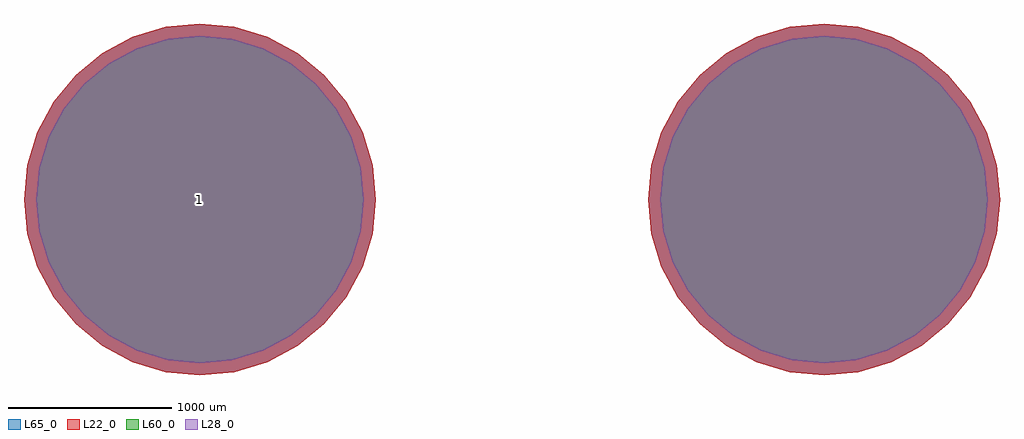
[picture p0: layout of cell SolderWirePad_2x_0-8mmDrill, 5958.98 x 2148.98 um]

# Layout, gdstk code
import gdstk
lib = gdstk.Library(unit=1e-6, precision=1e-09)
def P(c, l, *ps):  # polygons
    for p in ps: c.add(gdstk.Polygon(p, *l))
L22_0 = (22, 0)
L28_0 = (28, 0)
L60_0 = (60, 0)
L65_0 = (65, 0)

solderwirepad_2x_0_8mmdr = lib.new_cell('SolderWirePad_2x_0-8mmDrill')
P(solderwirepad_2x_0_8mmdr, L22_0, [(2979.49,0),(2958.844,209.623),(2897.699,411.19),(2798.406,596.955),(2664.779,759.779),(2501.955,893.406),(2316.19,992.699),(2114.623,1053.844),(1905,1074.49),(1695.377,1053.844),(1493.81,992.699),(1308.045,893.406),(1145.221,759.779),(1011.594,596.955),(912.301,411.19),(851.156,209.623),(830.51,0),(851.156,-209.623),(912.301,-411.19),(1011.594,-596.955),(1145.221,-759.779),(1308.045,-893.406),(1493.81,-992.699),(1695.377,-1053.844),(1905,-1074.49),(2114.623,-1053.844),(2316.19,-992.699),(2501.955,-893.406),(2664.779,-759.779),(2798.406,-596.955),(2897.699,-411.19),(2958.844,-209.623)],
  [(-830.51,0),(-851.156,209.623),(-912.301,411.19),(-1011.594,596.955),(-1145.221,759.779),(-1308.045,893.406),(-1493.81,992.699),(-1695.377,1053.844),(-1905,1074.49),(-2114.623,1053.844),(-2316.19,992.699),(-2501.955,893.406),(-2664.779,759.779),(-2798.406,596.955),(-2897.699,411.19),(-2958.844,209.623),(-2979.49,0),(-2958.844,-209.623),(-2897.699,-411.19),(-2798.406,-596.955),(-2664.779,-759.779),(-2501.955,-893.406),(-2316.19,-992.699),(-2114.623,-1053.844),(-1905,-1074.49),(-1695.377,-1053.844),(-1493.81,-992.699),(-1308.045,-893.406),(-1145.221,-759.779),(-1011.594,-596.955),(-912.301,-411.19),(-851.156,-209.623)])
P(solderwirepad_2x_0_8mmdr, L28_0, [(2904.49,0),(2885.285,194.991),(2828.408,382.488),(2736.046,555.287),(2611.746,706.746),(2460.287,831.046),(2287.488,923.408),(2099.991,980.285),(1905,999.49),(1710.009,980.285),(1522.512,923.408),(1349.713,831.046),(1198.254,706.746),(1073.954,555.287),(981.592,382.488),(924.715,194.991),(905.51,0),(924.715,-194.991),(981.592,-382.488),(1073.954,-555.287),(1198.254,-706.746),(1349.713,-831.046),(1522.512,-923.408),(1710.009,-980.285),(1905,-999.49),(2099.991,-980.285),(2287.488,-923.408),(2460.287,-831.046),(2611.746,-706.746),(2736.046,-555.287),(2828.408,-382.488),(2885.285,-194.991)],
  [(-905.51,0),(-924.715,194.991),(-981.592,382.488),(-1073.954,555.287),(-1198.254,706.746),(-1349.713,831.046),(-1522.512,923.408),(-1710.009,980.285),(-1905,999.49),(-2099.991,980.285),(-2287.488,923.408),(-2460.287,831.046),(-2611.746,706.746),(-2736.046,555.287),(-2828.408,382.488),(-2885.285,194.991),(-2904.49,0),(-2885.285,-194.991),(-2828.408,-382.488),(-2736.046,-555.287),(-2611.746,-706.746),(-2460.287,-831.046),(-2287.488,-923.408),(-2099.991,-980.285),(-1905,-999.49),(-1710.009,-980.285),(-1522.512,-923.408),(-1349.713,-831.046),(-1198.254,-706.746),(-1073.954,-555.287),(-981.592,-382.488),(-924.715,-194.991)])
P(solderwirepad_2x_0_8mmdr, L60_0, [(2904.49,0),(2885.285,194.991),(2828.408,382.488),(2736.046,555.287),(2611.746,706.746),(2460.287,831.046),(2287.488,923.408),(2099.991,980.285),(1905,999.49),(1710.009,980.285),(1522.512,923.408),(1349.713,831.046),(1198.254,706.746),(1073.954,555.287),(981.592,382.488),(924.715,194.991),(905.51,0),(924.715,-194.991),(981.592,-382.488),(1073.954,-555.287),(1198.254,-706.746),(1349.713,-831.046),(1522.512,-923.408),(1710.009,-980.285),(1905,-999.49),(2099.991,-980.285),(2287.488,-923.408),(2460.287,-831.046),(2611.746,-706.746),(2736.046,-555.287),(2828.408,-382.488),(2885.285,-194.991)],
  [(-905.51,0),(-924.715,194.991),(-981.592,382.488),(-1073.954,555.287),(-1198.254,706.746),(-1349.713,831.046),(-1522.512,923.408),(-1710.009,980.285),(-1905,999.49),(-2099.991,980.285),(-2287.488,923.408),(-2460.287,831.046),(-2611.746,706.746),(-2736.046,555.287),(-2828.408,382.488),(-2885.285,194.991),(-2904.49,0),(-2885.285,-194.991),(-2828.408,-382.488),(-2736.046,-555.287),(-2611.746,-706.746),(-2460.287,-831.046),(-2287.488,-923.408),(-2099.991,-980.285),(-1905,-999.49),(-1710.009,-980.285),(-1522.512,-923.408),(-1349.713,-831.046),(-1198.254,-706.746),(-1073.954,-555.287),(-981.592,-382.488),(-924.715,-194.991)])
P(solderwirepad_2x_0_8mmdr, L65_0, [(2979.49,0),(2958.844,209.623),(2897.699,411.19),(2798.406,596.955),(2664.779,759.779),(2501.955,893.406),(2316.19,992.699),(2114.623,1053.844),(1905,1074.49),(1695.377,1053.844),(1493.81,992.699),(1308.045,893.406),(1145.221,759.779),(1011.594,596.955),(912.301,411.19),(851.156,209.623),(830.51,0),(851.156,-209.623),(912.301,-411.19),(1011.594,-596.955),(1145.221,-759.779),(1308.045,-893.406),(1493.81,-992.699),(1695.377,-1053.844),(1905,-1074.49),(2114.623,-1053.844),(2316.19,-992.699),(2501.955,-893.406),(2664.779,-759.779),(2798.406,-596.955),(2897.699,-411.19),(2958.844,-209.623)],
  [(-830.51,0),(-851.156,209.623),(-912.301,411.19),(-1011.594,596.955),(-1145.221,759.779),(-1308.045,893.406),(-1493.81,992.699),(-1695.377,1053.844),(-1905,1074.49),(-2114.623,1053.844),(-2316.19,992.699),(-2501.955,893.406),(-2664.779,759.779),(-2798.406,596.955),(-2897.699,411.19),(-2958.844,209.623),(-2979.49,0),(-2958.844,-209.623),(-2897.699,-411.19),(-2798.406,-596.955),(-2664.779,-759.779),(-2501.955,-893.406),(-2316.19,-992.699),(-2114.623,-1053.844),(-1905,-1074.49),(-1695.377,-1053.844),(-1493.81,-992.699),(-1308.045,-893.406),(-1145.221,-759.779),(-1011.594,-596.955),(-912.301,-411.19),(-851.156,-209.623)])
solderwirepad_2x_0_8mmdr.add(gdstk.Label('1', (-1905,0), layer=28, texttype=0))
solderwirepad_2x_0_8mmdr.add(gdstk.Label('type', (635,-2540), layer=9, texttype=0))
solderwirepad_2x_0_8mmdr.add(gdstk.Label('devicename', (0,3810), layer=9, texttype=0))

lib.write_gds('SolderWirePad_2x_0-8mmDrill.gds')
